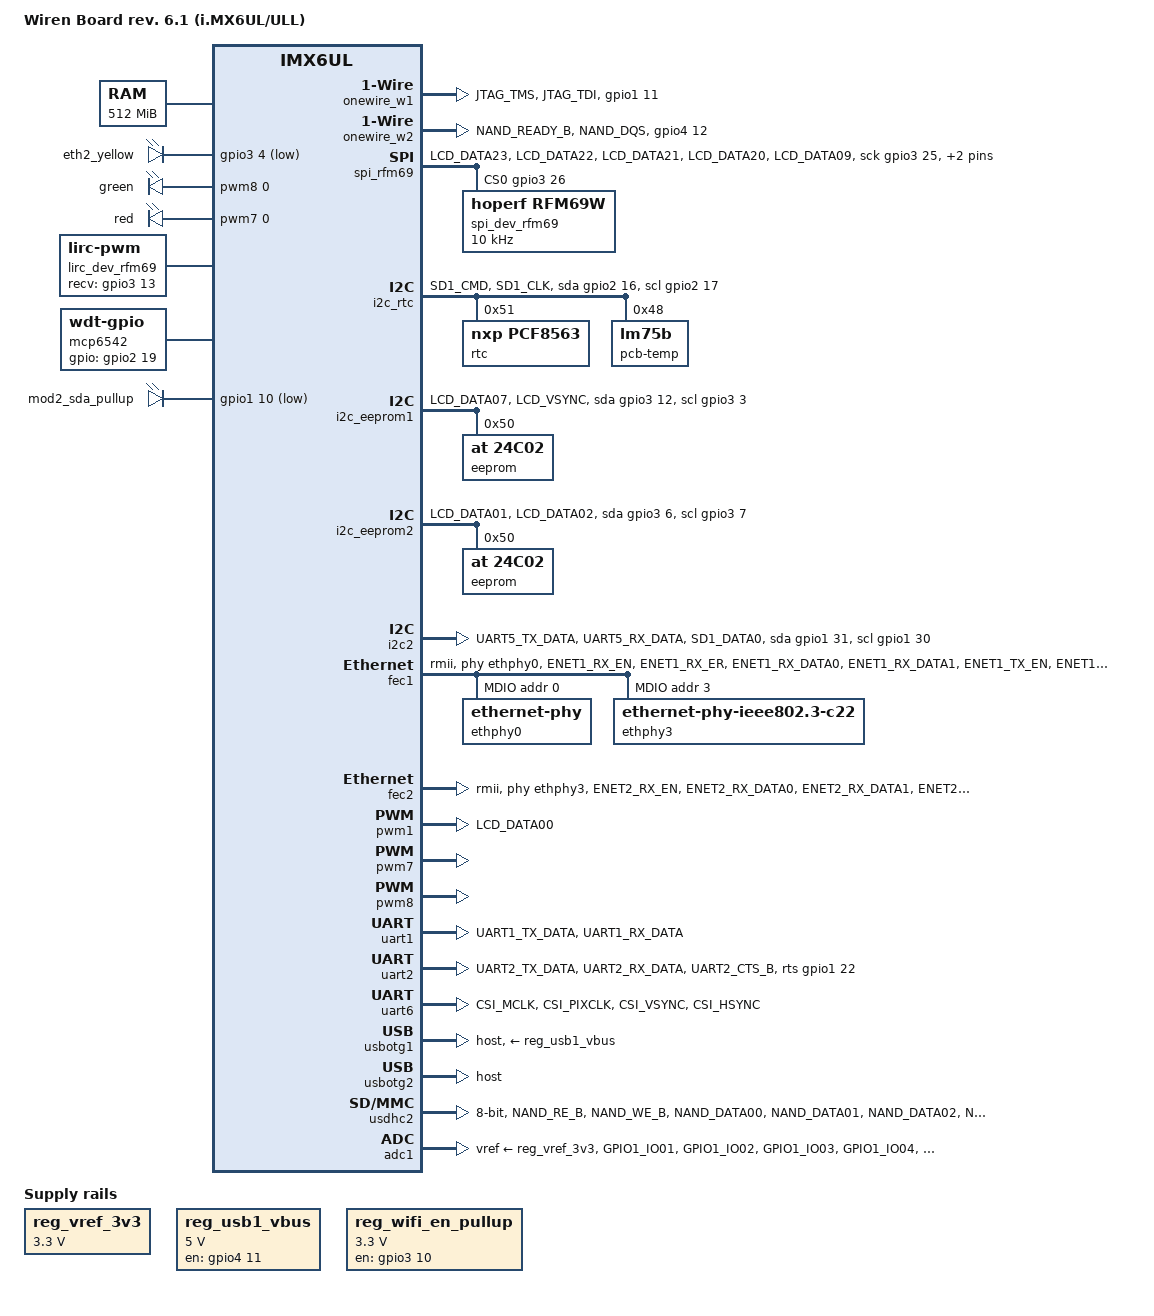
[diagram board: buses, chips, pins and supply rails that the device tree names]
/*
 * Copyright (C) 2016-2017 Contactless Devices, LLC
 * Copyright (C) 2015 Freescale Semiconductor, Inc.
 *
 * This program is free software; you can redistribute it and/or modify
 * it under the terms of the GNU General Public License version 2 as
 * published by the Free Software Foundation.
 */

/dts-v1/;

#include "imx6ull.dtsi"

/ {
	model = "Wiren Board rev. 6.1 (i.MX6UL/ULL)";
	compatible = "contactless,imx6ul-wirenboard61", "contactless,imx6ul-wirenboard60", "contactless,imx6ul-wirenboard-evk", "fsl,imx6ul-14x14-evk", "fsl,imx6ul";


	aliases {
		spi10 = &spi_rfm69;
		usb0 = &usbotg1;
		usb1 = &usbotg2;
/*
    Swap mmc0 and mmc1 aliases

    В ядре 5.10-rc3 по-другому стало работать сопоставление устройств mmcblk0 и
    mmcblk1 контроллерам usdhc1, usdhc2. На WB6
    mmc0 = &usdhc1: usdhc@2190000 - выключен,
    mmc1 = &usdhc2: usdhc@2194000 - eMMC
    На ядре 5.8.9 eMMC связывается с mmc0,
    на ядре 5.10-rc3 eMMC связывается с mmc1 и не загружается, зависает на
    ожидании монтирования mmcblk0p3.

    Поменять местами алиасы mmc0 и mmc1, при этом на ядре 5.8.9 связь
    устройств не меняется, на 5.10 становится mmcblk0 -> usdhc2, как и
    должно быть.
*/
		mmc0 = &usdhc2;
		mmc1 = &usdhc1;
	};

	chosen {
		stdout-path = &uart1;
	};

	memory {
		reg = <0x80000000 0x20000000>;
	};

	regulators {
		compatible = "simple-bus";
		#address-cells = <1>;
		#size-cells = <0>;

		reg_vref_3v3: regulator@0 {
			reg = <0>;
			compatible = "regulator-fixed";
			regulator-name = "vref-3v3";
			regulator-min-microvolt = <3300000>;
			regulator-max-microvolt = <3300000>;
		};

		reg_usb1_vbus: regulator@1 {
			reg = <1>;
			compatible = "regulator-fixed";
			regulator-name = "usb1_vbus";
			regulator-min-microvolt = <5000000>;
			regulator-max-microvolt = <5000000>;

			pinctrl-names = "default";
			pinctrl-0 = <&pinctrl_usb1vbus_gpio>;

			gpio = <&gpio4 11 0>;
			enable-active-high;
		};

		/* WIFI_EN should be always 3.3V so Wi-Fi power control
		   is handled by USB hub PRTCTL pins */
		reg_wifi_en_pullup: regulator@2 {
			reg = <2>;
			compatible = "regulator-fixed";
			regulator-name = "wifi_en_pullup";
			regulator-min-microvolt = <3300000>;
			regulator-max-microvolt = <3300000>;

			pinctrl-names = "default";
			pinctrl-0 = <&pinctrl_usb2vbus_gpio>;

			gpio = <&gpio3 10 0>;
			enable-active-high;
			regulator-always-on;
		};
	};

	leds {
		compatible = "gpio-leds";
		pinctrl-names = "default";
		pinctrl-0 = <&pinctrl_eth_led_pin_gpio>;

		eth2_yellow {
			label = "eth2_yellow";
			gpios = <&gpio3 4 1>;
			linux,default-trigger = "default-off";
		};
	};

	leds-pwm {
		compatible = "pwm-leds";
		pinctrl-names = "default";
		pinctrl-0 = <&pinctrl_leds_pin_pwm>;

		green {
			label = "green";
			pwms = <&pwm8 0 1000000 0>;
			max-brightness = <255>;
			linux,default-trigger = "default-off";
			default-state = "on";
			active-low;
		};

		red {
			label = "red";
			pwms = <&pwm7 0 1000000 0>;
			max-brightness = <255>;
			linux,default-trigger = "timer";
		};
	};

	/* Enable 1-wire network on terminal block W1 */
	onewire_w1: onewire_w1 {
		compatible = "w1-gpio";
		pinctrl-names = "default";
		pinctrl-0 = <&pinctrl_w1_gpio>;

		gpios = <&gpio1 11 0>;
		pu-gpios = <&gpio1 13 0>;
	};

	/* Enable 1-wire network on terminal block W2 */
	onewire_w2: onewire_w2 {
		compatible = "w1-gpio";
		pinctrl-names = "default";
		pinctrl-0 = <&pinctrl_w2_gpio>;

		gpios = <&gpio4 12 0>;
		pu-gpios = <&gpio4 16 0>;
	};

	lirc_dev_rfm69: lirc-rfm69 {
		compatible = "lirc-pwm";

		pinctrl-names = "default";
		pinctrl-0 = <&pinctrl_rfm69_dio2>;

		gpio-recv = <&gpio3 13 0>;
		gpio-recv-disable-filter;
	};

	spi_rfm69: spi-rfm69 {
		compatible = "spi-gpio";

		pinctrl-names = "default";
		pinctrl-0 = <&pinctrl_rfm69_spi_irq>;
		status = "okay";

		gpio-sck = <&gpio3 25 0>;
		gpio-mosi = <&gpio3 27 0>;
		gpio-miso = <&gpio3 28 0>;
		cs-gpios = <&gpio3 26 0>;
		num-chipselects = <1>;
		#address-cells = <1>;
		#size-cells = <0>;

		spi_dev_rfm69: spidev@0 {
			compatible = "hoperf,rfm69w";
			spi-max-frequency = <10000>;
			reg = <0>;
		};
	};

	mcp6542: watchdog {
		/* external watchdog timer using mcp6542  */
		compatible = "linux,wdt-gpio";

		pinctrl-names = "default";
		pinctrl-0 = <&pinctrl_wdg_gpio>;

		gpios = <&gpio2 19 0>;
		hw_algo = "toggle";
		hw_margin_ms = <100>;
		always-running;
		timeout-sec = <30>;
		status = "okay";
	};

	i2c_rtc {
		compatible = "i2c-gpio";

		#address-cells = <1>;
		#size-cells = <0>;

		gpios = <
			&gpio2 16 0 /* sda */
			&gpio2 17 0 /* scl */
		>;

		i2c-gpio,delay-us = <50>;        /* ~20 kHz */

		pinctrl-names = "default";
		pinctrl-0 = <&pinctrl_i2c_gpio_rtc>;

		status = "okay";

		rtc@51 {
			compatible = "nxp,pcf8563";
			reg = <0x51>;
		};

		pcb-temp@48 {
			/* NXP LM75AD has 11 bits of resolution, just like
			   standard LM75B. */
			compatible = "lm75b";
			reg = <0x48>;
		};
	};

	i2c_eeprom1 {
		compatible = "i2c-gpio";

		#address-cells = <1>;
		#size-cells = <0>;

		gpios = <
			&gpio3 12 0 /* sda */
			&gpio3 3 0 /* scl */
		>;

		i2c-gpio,delay-us = <50>;        /* ~20 kHz */

		pinctrl-names = "default";
		pinctrl-0 = <&pinctrl_i2c_gpio_eeprom1>;

		status = "okay";

		eeprom@50 {
			compatible = "at,24c02";
			reg = <0x50>;
		};
	};

	i2c_eeprom2 {
		compatible = "i2c-gpio";

		#address-cells = <1>;
		#size-cells = <0>;

		gpios = <
			&gpio3 6 0 /* sda */
			&gpio3 7 0 /* scl */
		>;

		i2c-gpio,delay-us = <50>;        /* ~20 kHz */

		pinctrl-names = "default";
		pinctrl-0 = <&pinctrl_i2c_gpio_eeprom2>;

		status = "okay";

		eeprom@50 {
			compatible = "at,24c02";
			reg = <0x50>;
		};
	};

	led_jtag_mod: led_jtag_mod {
		compatible = "gpio-leds";

		jtag_mod_out: jtag_mod_out {
			label = "mod2_sda_pullup";
			gpios = <&gpio1 10 1>;
			linux,default-trigger = "default-on";
			open-drain;
		};
	};

	wirenboard {
		adc-type = <3>;
		pwm-buzzer = <0>;

		gpios {
			A1_OUT {
				io-gpios = <&gpio3 15 0>;
				output-low;
				sort-order = <0>;
			};

			A2_OUT {
				io-gpios = <&gpio3 16 0>;
				output-low;
				sort-order = <1>;
			};

			A3_OUT {
				io-gpios = <&gpio3 17 0>;
				output-low;
				sort-order = <2>;
			};

			A4_OUT {
				io-gpios = <&gpio3 18 0>;
				output-low;
				sort-order = <3>;
			};

			A1_IN {
				io-gpios = <&gpio4 13 0>;
				input;
				sort-order = <4>;
			};

			A2_IN {
				io-gpios = <&gpio4 15 0>;
				input;
				sort-order = <5>;
			};

			A3_IN {
				io-gpios = <&gpio4 14 0>;
				input;
				sort-order = <6>;
			};

			A4_IN {
				io-gpios = <&gpio1 0 0>;
				input;
				sort-order = <7>;
			};

			5V_OUT {
				io-gpios = <&gpio1 27 0>;
				output-high;
				sort-order = <8>;
			};

			V_OUT {
				io-gpios = <&gpio3 9 0>;
				output-high;
				sort-order = <9>;
			};

			V_OUT_OK {
				io-gpios = <&gpio3 8 0>;
				input;
				sort-order = <10>;
			};
		};

		analog-inputs {
			/* we don't use standard 'io-channels = <&adc1 N>' here because
			   there is seemingly no way to assiciate iio channel index (N
			   in above example) with channel name as in sysfs path
			*/
			A1 {
				iio-device = <&adc1>;
				iio-channel-name = "voltage4";
				divider-r1-ohms = <88700>;
				divider-r2-ohms = <12000>;
				averaging-window = <1>;
				decimal-places = <2>;
				sort-order = <0>;
			};

			A2 {
				iio-device = <&adc1>;
				iio-channel-name = "voltage2";
				divider-r1-ohms = <88700>;
				divider-r2-ohms = <12000>;
				averaging-window = <1>;
				decimal-places = <2>;
				sort-order = <1>;
			};

			A3 {
				iio-device = <&adc1>;
				iio-channel-name = "voltage1";
				divider-r1-ohms = <88700>;
				divider-r2-ohms = <12000>;
				averaging-window = <1>;
				decimal-places = <2>;
				sort-order = <2>;
			};

			A4 {
				iio-device = <&adc1>;
				iio-channel-name = "voltage3";
				divider-r1-ohms = <88700>;
				divider-r2-ohms = <12000>;
				averaging-window = <1>;
				decimal-places = <2>;
				sort-order = <3>;
			};

			Vin {
				iio-device = <&adc1>;
				iio-channel-name = "voltage8";
				divider-r1-ohms = <88700>;
				divider-r2-ohms = <12000>;
				averaging-window = <1>;
				decimal-places = <2>;
				sort-order = <4>;
			};

			5Vout {
				iio-device = <&adc1>;
				iio-channel-name = "voltage5";
				divider-r1-ohms = <33000>;
				divider-r2-ohms = <12000>;
				averaging-window = <1>;
				decimal-places = <2>;
				sort-order = <5>;
			};
		};

		gsm {
			power-type = <2>;
			power-gpios = <&gpio4 24 0>;
			pwrkey-gpios = <&gpio3 20 0>;
			status-gpios = <&gpio3 19 1>;
			simselect-gpios = <&gpio3 24 0>;
		};

		radio {
			irq-gpios = <&gpio3 14 0>;
			dio2-gpios = <&gpio3 13 0>;
			spi-major-minor = <9 0>;				// deprecated. use spi-device to define rfm69 spi port
			spi-device = <&spi_dev_rfm69>;
			lirc-device = <&lirc_dev_rfm69>;
		};

		hwmon-nodes {
			cputemp {
				title = "CPU Temperature";
				hwmon-node-name = "imx_thermal_zone";
				hwmon-channel = "temp1";
			};

			pcbtemp {
				title = "Board Temperature";
				hwmon-node-name = "pcb-temp";
				hwmon-channel = "temp1";
			};
		};
	};
};

&clks {
	assigned-clocks = <&clks IMX6UL_CLK_PLL4_AUDIO_DIV>;
	assigned-clock-rates = <786432000>;
};

&cpu0 {
	arm-supply = <&reg_arm>;
	soc-supply = <&reg_soc>;
};

&i2c2 {
	clock_frequency = <100000>;
	/* GPIOs are used for bus recovery by the driver */
	pinctrl-names = "default", "gpio";
	pinctrl-0 = <&pinctrl_i2c2>;
	pinctrl-1 = <&pinctrl_i2c2_gpio>;
	scl-gpios = <&gpio1 30 GPIO_ACTIVE_HIGH>;
	sda-gpios = <&gpio1 31 GPIO_ACTIVE_HIGH>;
	status = "okay";
};

&fec1 {
	pinctrl-names = "default";
	pinctrl-0 = <&pinctrl_enet1>;
	phy-mode = "rmii";
	phy-handle = <&ethphy0>;
	status = "okay";

	phy-reset-gpios = <&gpio5 1 0>;
	phy-reset-duration = <100>;

	mdio {
		#address-cells = <1>;
		#size-cells = <0>;

		ethphy0: ethernet-phy@0 {
			reg = <0>;
			smsc,disable-energy-detect;
		};

		ethphy3: ethernet-phy@3 {
                    compatible = "ethernet-phy-ieee802.3-c22";
                    max-speed = <100>;
                    reg = <3>;
                    clocks = <&clks IMX6UL_CLK_ENET_REF>;
                    clock-names = "rmii-ref";
                    micrel,led-mode = <0>;
		};
	};
};

&fec2 {
	pinctrl-names = "default";
	pinctrl-0 = <&pinctrl_enet2>;
	phy-mode = "rmii";
	phy-handle = <&ethphy3>;
	status = "okay";

};

&pwm1 {
	pinctrl-names = "default";
	pinctrl-0 = <&pinctrl_pwm1>;
	status = "okay";
};

&pwm7 {
	status = "okay";
};
&pwm8 {
	status = "okay";
};

&snvs_poweroff {
	status = "okay";
};

&uart1 {
	pinctrl-names = "default";
	pinctrl-0 = <&pinctrl_uart1>;
	status = "okay";
};

&uart2 {
	pinctrl-names = "default";
	pinctrl-0 = <&pinctrl_uart2>;
	linux,rs485-enabled-at-boot-time;
	rts-gpios = <&gpio1 22 GPIO_ACTIVE_HIGH>;
	status = "okay";
};

// uart on mod1
&uart3 {
	rts-gpios = <&gpio1 26 GPIO_ACTIVE_HIGH>;
	status = "disabled";
};

&uart4 {
	pinctrl-names = "default";
	linux,rs485-enabled-at-boot-time;
	rts-gpios = <&gpio3 2 GPIO_ACTIVE_HIGH>;
	status = "disabled";
};

// uart on mod2
&uart5 {
	rts-gpios = <&gpio1 9 GPIO_ACTIVE_HIGH>;
	status = "disabled";
};

&uart6 {
	pinctrl-names = "default";
	pinctrl-0 = <&pinctrl_uart6>;
	uart-has-rtscts;
	status = "okay";
};

// uart on mod3
&uart7 {
	rts-gpios = <&gpio3 11 GPIO_ACTIVE_HIGH>;
	status = "disabled";
};

&can2 {
	pinctrl-names = "default";
	pinctrl-0 = <&pinctrl_flexcan2>;
	status = "disabled";
};

&ecspi1 {
	pinctrl-names = "default";
	pinctrl-0 = <&pinctrl_ecspi1>;

	cs-gpios = <&gpio4 26 GPIO_ACTIVE_LOW>;

	dmas = <&sdma 3 7 1>, <&sdma 4 7 2>;
	dma-names = "rx", "tx";

	status = "disabled";
};

&usbotg1 {
	vbus-supply = <&reg_usb1_vbus>;
	dr_mode = "host";
	status = "okay";
};

&usbotg2 {
	dr_mode = "host";
	disable-over-current;
	status = "okay";
};

&usbphy2 {
	fsl,tx-cal-45-dn-ohms = <55>;
	fsl,tx-cal-45-dp-ohms = <55>;
};

&usdhc2 {
	pinctrl-names = "default";
	pinctrl-0 = <&pinctrl_usdhc2>;
	no-1-8-v;
	keep-power-in-suspend;
	wakeup-source;
	status = "okay";
	bus-width = <8>;
};


&adc1 {
	pinctrl-names = "default";
	pinctrl-0 = <&pinctrl_adc1>;
	status = "okay";
	vref-supply = <&reg_vref_3v3>;
};

&iomuxc {
	pinctrl-names = "default";
	pinctrl-0 = <&pinctrl_io_gpio>;

	pinctrl_enet1: enet1grp {
		fsl,pins = <
			MX6UL_PAD_ENET1_RX_EN__ENET1_RX_EN	0x1b0b0
			MX6UL_PAD_ENET1_RX_ER__ENET1_RX_ER	0x1b0b0
			MX6UL_PAD_ENET1_RX_DATA0__ENET1_RDATA00	0x1b0b0
			MX6UL_PAD_ENET1_RX_DATA1__ENET1_RDATA01	0x1b0b0
			MX6UL_PAD_ENET1_TX_EN__ENET1_TX_EN	0x1b0b0
			MX6UL_PAD_ENET1_TX_DATA0__ENET1_TDATA00	0x1b0b0
			MX6UL_PAD_ENET1_TX_DATA1__ENET1_TDATA01	0x1b0b0
			MX6UL_PAD_ENET1_TX_CLK__ENET1_REF_CLK1	0x4001b031
			MX6UL_PAD_GPIO1_IO07__ENET1_MDC		0x1b0b0
			MX6UL_PAD_GPIO1_IO06__ENET1_MDIO	0x1b0b0
			MX6UL_PAD_SNVS_TAMPER1__GPIO5_IO01 0x70b0 /*pulled up*/
		>;
	};

	pinctrl_enet2: enet2grp {
		fsl,pins = <
			MX6UL_PAD_ENET2_RX_EN__ENET2_RX_EN	0x1b0b0
			MX6UL_PAD_ENET2_RX_DATA0__ENET2_RDATA00	0x1b0b0
			MX6UL_PAD_ENET2_RX_DATA1__ENET2_RDATA01	0x1b0b0
			MX6UL_PAD_ENET2_TX_EN__ENET2_TX_EN	0x1b0b0
			MX6UL_PAD_ENET2_TX_DATA0__ENET2_TDATA00	0x1b0b0
			MX6UL_PAD_ENET2_TX_DATA1__ENET2_TDATA01	0x1b0b0
			MX6UL_PAD_ENET2_TX_CLK__ENET2_REF_CLK2	0x4001b031
			MX6UL_PAD_SNVS_TAMPER0__GPIO5_IO00	0x17059
			MX6UL_PAD_ENET2_RX_ER__ENET2_RX_ER	0x1b0b0
		>;
	};

	pinctrl_flexcan2: flexcan2grp{
		fsl,pins = <
			MX6UL_PAD_SD1_DATA3__FLEXCAN2_RX	0x1b020
			MX6UL_PAD_SD1_DATA2__FLEXCAN2_TX	0x1b020
			MX6UL_PAD_UART4_TX_DATA__GPIO1_IO28	0xb0b0
			MX6UL_PAD_UART4_RX_DATA__GPIO1_IO29	0xb0b0
			MX6UL_PAD_LCD_ENABLE__GPIO3_IO01	0xb0b0
			MX6UL_PAD_LCD_HSYNC__GPIO3_IO02     0x30b0 /* RTS, 100K Ohm Pull Down */
			MX6UL_PAD_UART2_RTS_B__GPIO1_IO23   0xf0b0 /* CAN transceiver power, 22K Ohm Pull Up */
			MX6UL_PAD_LCD_DATA18__GPIO3_IO23    0x30b0 /* RS-485-2 failsafe bias, 100K Ohm Pull Down  */
		>;
	};

	pinctrl_i2c2: i2c2grp {
		fsl,pins = <
			MX6UL_PAD_UART5_TX_DATA__I2C2_SCL 0x4001b8b0
			MX6UL_PAD_UART5_RX_DATA__I2C2_SDA 0x4001b8b0
			MX6UL_PAD_SD1_DATA0__GPIO2_IO18 0x30b0 /* INT */
		>;
	};

	pinctrl_i2c2_gpio: i2c2gpiogrp {
		fsl,pins = <
			MX6UL_PAD_UART5_TX_DATA__GPIO1_IO30 0xf0b0 /* SCL, 22k pull-up */
			MX6UL_PAD_UART5_RX_DATA__GPIO1_IO31 0xf0b0 /* SDA, 22k pull-up */
			MX6UL_PAD_SD1_DATA0__GPIO2_IO18 0x30b0 /* INT */
		>;
	};

	pinctrl_uart1: uart1grp {
		fsl,pins = <
			MX6UL_PAD_UART1_TX_DATA__UART1_DCE_TX 0x1b0b1
			MX6UL_PAD_UART1_RX_DATA__UART1_DCE_RX 0x1b0b1
		>;
	};

	pinctrl_uart2: uart2grp {
		fsl,pins = <
			MX6UL_PAD_UART2_TX_DATA__UART2_DCE_TX   0x1b0b1
			MX6UL_PAD_UART2_RX_DATA__UART2_DCE_RX   0x1b0b1
			MX6UL_PAD_UART2_CTS_B__GPIO1_IO22   0x30b0
		>;
	};

	pinctrl_uart3_txrx: uart3txrxgrp {
		fsl,pins = <
			MX6UL_PAD_UART3_TX_DATA__UART3_DCE_TX	0x1b0b1
			MX6UL_PAD_UART3_RX_DATA__UART3_DCE_RX	0x1b0b1
		>;
	};

	pinctrl_uart3_ctsb: uart3ctsbgrp {
		fsl,pins = <
			MX6UL_PAD_UART3_CTS_B__GPIO1_IO26	0x30b0
		>;
	};

	pinctrl_uart4_rs485: uart4rs485grp {
		fsl,pins = <
			MX6UL_PAD_UART4_TX_DATA__UART4_DCE_TX   0x1b0b1
			MX6UL_PAD_UART4_RX_DATA__UART4_DCE_RX   0x1b0b1
			MX6UL_PAD_LCD_HSYNC__GPIO3_IO02   0x30b0
			MX6UL_PAD_LCD_ENABLE__GPIO3_IO01   0xb0b0
			MX6UL_PAD_SD1_DATA3__GPIO2_IO21   0xb0b0
			MX6UL_PAD_SD1_DATA2__GPIO2_IO20   0xb0b0
			MX6UL_PAD_UART2_RTS_B__GPIO1_IO23   0x30b0 /* CAN transceiver power, 100K Ohm Pull Down */
			MX6UL_PAD_LCD_DATA18__GPIO3_IO23    0x70b0 /* RS-485-2 failsafe bias, 47K Ohm Pull Up */
		>;
	};

	pinctrl_uart4_can: uart4cangrp {
		fsl,pins = <
			MX6UL_PAD_UART4_TX_DATA__UART4_DCE_TX   0x1b0b1
			MX6UL_PAD_LCD_ENABLE__UART4_DCE_RX   0x1b0b1
			MX6UL_PAD_UART4_RX_DATA__GPIO1_IO29   0xb0b0
			MX6UL_PAD_SD1_DATA3__GPIO2_IO21   0xb0b0
			MX6UL_PAD_SD1_DATA2__GPIO2_IO20   0xb0b0
			MX6UL_PAD_LCD_HSYNC__GPIO3_IO02     0x30b0 /* RTS, 100K Ohm Pull Down */
			MX6UL_PAD_UART2_RTS_B__GPIO1_IO23   0xf0b0 /* CAN transceiver power, 22K Ohm Pull Up */
			MX6UL_PAD_LCD_DATA18__GPIO3_IO23    0x30b0 /* RS-485-2 failsafe bias, 100K Ohm Pull Down  */
		>;
	};

	pinctrl_uart5_txrx: uart5txrxgrp {
		fsl,pins = <
			MX6UL_PAD_CSI_DATA00__UART5_DCE_TX   0x1b0b1
			MX6UL_PAD_CSI_DATA01__UART5_DCE_RX   0x1b0b1
		>;
	};

	pinctrl_uart5_ctsb: uart5ctsbgrp {
		fsl,pins = <
			MX6UL_PAD_GPIO1_IO09__GPIO1_IO09	0x30b0
		>;
	};

	pinctrl_uart6: uart6grp {
		fsl,pins = <
			MX6UL_PAD_CSI_MCLK__UART6_DCE_TX   0x1b0b1
			MX6UL_PAD_CSI_PIXCLK__UART6_DCE_RX   0x1b0b1
			MX6UL_PAD_CSI_VSYNC__UART6_DCE_RTS   0x1b0b1
			MX6UL_PAD_CSI_HSYNC__UART6_DCE_CTS   0x1b0b1
		>;
	};

	pinctrl_uart7_ctsb: uart7ctsbgrp {
		fsl,pins = <
			MX6UL_PAD_LCD_DATA06__GPIO3_IO11	0x30b0
		>;
	};

	pinctrl_uart7_txrx: uart7txrxgrp {
		fsl,pins = <
			MX6UL_PAD_LCD_DATA16__UART7_DCE_TX   0x1b0b1
			MX6UL_PAD_LCD_DATA17__UART7_DCE_RX   0x1b0b1
		>;
	};

	pinctrl_ecspi1: ecspi1grp {
		fsl,pins = <
			MX6UL_PAD_CSI_DATA06__ECSPI1_MOSI	0x100b1
			MX6UL_PAD_CSI_DATA07__ECSPI1_MISO	0x100b1
			MX6UL_PAD_CSI_DATA04__ECSPI1_SCLK	0x100b1
			MX6UL_PAD_CSI_DATA05__GPIO4_IO26	0x0b0b1
		>;
	};

	pinctrl_usdhc2: usdhc2grp {
		fsl,pins = <
			MX6UL_PAD_NAND_RE_B__USDHC2_CLK     0x17059
			MX6UL_PAD_NAND_WE_B__USDHC2_CMD     0x17059
			MX6UL_PAD_NAND_DATA00__USDHC2_DATA0 0x17059
			MX6UL_PAD_NAND_DATA01__USDHC2_DATA1 0x17059
			MX6UL_PAD_NAND_DATA02__USDHC2_DATA2 0x17059
			MX6UL_PAD_NAND_DATA03__USDHC2_DATA3 0x17059
		>;
	};

	pinctrl_eth_led_pin_gpio: leds_pin_gpio {
		fsl,pins = <
			MX6UL_PAD_LCD_RESET__GPIO3_IO04	0x30b0
		>;
	};

	pinctrl_leds_pin_pwm: ledsgrp {
		fsl,pins = <
			MX6UL_PAD_JTAG_TRST_B__PWM8_OUT	0x30b0
			MX6UL_PAD_JTAG_TCK__PWM7_OUT	0x30b0
		>;
	};

	pinctrl_io_gpio: iogrp {
		fsl,pins = <
			MX6UL_PAD_LCD_DATA10__GPIO3_IO15	0x30b0 /* FET1 */
			MX6UL_PAD_LCD_DATA11__GPIO3_IO16	0x30b0 /* FET2 */
			MX6UL_PAD_LCD_DATA12__GPIO3_IO17	0x30b0 /* FET3 */
			MX6UL_PAD_LCD_DATA13__GPIO3_IO18	0x30b0 /* FET4 */
			MX6UL_PAD_CSI_DATA03__GPIO4_IO24	0x30b0 /* RESET_SIM900 */
			MX6UL_PAD_LCD_DATA15__GPIO3_IO20	0x30b0 /* POWER_SIM900 */
			MX6UL_PAD_LCD_DATA14__GPIO3_IO19	0x30b0 /* STATUS SIM900 */
			MX6UL_PAD_LCD_DATA19__GPIO3_IO24	0x30b0 /* SIM select */
			MX6UL_PAD_UART1_CTS_B__GPIO1_IO18	0xf0b0 /* Battery STAT1, 22K Ohm pulled up */
			MX6UL_PAD_UART1_RTS_B__GPIO1_IO19	0xf0b0 /* Battery STAT2, 22K Ohm pulled up */
			MX6UL_PAD_JTAG_TDO__CCM_CLKO2	0xb0 /* 24MHz clock output */
			MX6UL_PAD_UART3_RTS_B__GPIO1_IO27	0x30b0 /* 5V enable */
			MX6UL_PAD_LCD_DATA04__GPIO3_IO09	0x30b0 /* V_OUT_ON */
			MX6UL_PAD_LCD_DATA03__GPIO3_IO08	0xb0b0 /* V_OUT_ST, 100K Ohm PU */
			MX6UL_PAD_CSI_DATA02__GPIO4_IO23        0x70b0 /* RS-485-1 failsafe bias, pulled up */

			MX6UL_PAD_NAND_CE0_B__GPIO4_IO13 	0x30b0 /* IN1 */
			MX6UL_PAD_NAND_CLE__GPIO4_IO15 	0x30b0 /* IN2 */
			MX6UL_PAD_NAND_CE1_B__GPIO4_IO14 	0x30b0 /* IN3 */
			MX6UL_PAD_GPIO1_IO00__GPIO1_IO00 	0x30b0 /* IN4 */

			MX6UL_PAD_JTAG_MOD__GPIO1_IO10		0x80000000 /* SPDIF_OUT connected to MODULE 2 TX PIN via 3K, must be high when i2c*/
		>;
	};

	pinctrl_wdg_gpio: wdggrp {
		fsl,pins = <
			MX6UL_PAD_SD1_DATA1__GPIO2_IO19	 0x30b0 /* watchdog toggle out */
		>;
	};

	pinctrl_adc1: adc1grp {
		fsl,pins = <
			MX6UL_PAD_GPIO1_IO01__GPIO1_IO01        0xb0
			MX6UL_PAD_GPIO1_IO02__GPIO1_IO02        0xb0
			MX6UL_PAD_GPIO1_IO03__GPIO1_IO03        0xb0
			MX6UL_PAD_GPIO1_IO04__GPIO1_IO04        0xb0
			MX6UL_PAD_GPIO1_IO05__GPIO1_IO05        0xb0
			MX6UL_PAD_GPIO1_IO08__GPIO1_IO08        0xb0
		>;
	};

	pinctrl_pwm1: pwm1grp {
		fsl,pins = <
			MX6UL_PAD_LCD_DATA00__PWM1_OUT	0x30b0
		>;
	};

	pinctrl_w1_gpio: w1grp {
		fsl,pins = <
			MX6UL_PAD_JTAG_TMS__GPIO1_IO11	0x30b0
			MX6UL_PAD_JTAG_TDI__GPIO1_IO13	0x30b0
		>;
	};

	pinctrl_w2_gpio: w2grp {
		fsl,pins = <
			MX6UL_PAD_NAND_READY_B__GPIO4_IO12	0x30b0
			MX6UL_PAD_NAND_DQS__GPIO4_IO16	0x30b0
		>;
	};

	pinctrl_rfm69_spi_irq: rfm69spigrp {
		fsl,pins = <
			MX6UL_PAD_LCD_DATA23__GPIO3_IO28	0x30b0
			MX6UL_PAD_LCD_DATA22__GPIO3_IO27	0x30b0
			MX6UL_PAD_LCD_DATA21__GPIO3_IO26	0x30b0
			MX6UL_PAD_LCD_DATA20__GPIO3_IO25	0x30b0
			MX6UL_PAD_LCD_DATA09__GPIO3_IO14	0x30b0
		>;
	};

	pinctrl_i2c_gpio_rtc: rtcgrp {
		fsl,pins = <
			MX6UL_PAD_SD1_CMD__GPIO2_IO16	0x1b0b0 /* RTC_SDA */
			MX6UL_PAD_SD1_CLK__GPIO2_IO17	0x1b0b0 /* RTC_SCL */
		>;
	};

	pinctrl_i2c_gpio_eeprom1: eeprom1grp {
		fsl,pins = <
			MX6UL_PAD_LCD_DATA07__GPIO3_IO12	0x1b0b0 /* EEPR_SDA-1 */
			MX6UL_PAD_LCD_VSYNC__GPIO3_IO03	0x1b0b0 /* EEPR_SCL-1 */
		>;
	};

	pinctrl_i2c_gpio_eeprom2: eeprom2grp {
		fsl,pins = <
			MX6UL_PAD_LCD_DATA01__GPIO3_IO06	0x1b0b0 /* EEPR_SDA-2 */
			MX6UL_PAD_LCD_DATA02__GPIO3_IO07	0x1b0b0 /* EEPR_SCL-2 */
		>;
	};

	pinctrl_rfm69_dio2: rfm69diogrp {
		fsl,pins = <
			MX6UL_PAD_LCD_DATA08__GPIO3_IO13	0x30b0
		>;
	};

	pinctrl_usb1vbus_gpio: usb1vbusgrp {
		fsl,pins = <
			MX6UL_PAD_NAND_WP_B__GPIO4_IO11	0x30b0 /* PRTCTL3 */
		>;
	};

	pinctrl_usb2vbus_gpio: usb2vbusgrp {
		fsl,pins = <
			MX6UL_PAD_LCD_DATA05__GPIO3_IO10	0x30b0
		>;
	};

	pinctrl_mod1_txrx_gpio: mod1gpiogrp-1 {
		fsl,pins = <
			MX6UL_PAD_UART3_TX_DATA__GPIO1_IO24	0x30b0
			MX6UL_PAD_UART3_RX_DATA__GPIO1_IO25	0x30b0
		>;
	};

	pinctrl_mod1_de_gpio: mod1gpiogrp-2 {
		fsl,pins = <
			MX6UL_PAD_UART3_CTS_B__GPIO1_IO26	0x30b0
		>;
	};

	pinctrl_mod1_i2c_gpio: mod1i2cgpiogrp-1 {
		fsl,pins = <
			MX6UL_PAD_UART3_TX_DATA__GPIO1_IO24	0x70b0 /* SDA, 47K PU */
			MX6UL_PAD_UART3_RX_DATA__GPIO1_IO25	0x70b0 /* SCL, 47K PU */
		>;
	};

	pinctrl_mod2_txrx_gpio: mod2gpiogrp-1 {
		fsl,pins = <
			MX6UL_PAD_CSI_DATA00__GPIO4_IO21	0x30b0
			MX6UL_PAD_CSI_DATA01__GPIO4_IO22	0x30b0
		>;
	};

	pinctrl_mod2_de_gpio: mod2gpiogrp-2 {
		fsl,pins = <
			MX6UL_PAD_GPIO1_IO09__GPIO1_IO09	0x30b0
		>;
	};

	pinctrl_mod2_i2c_gpio: mod2i2cgpiogrp-1 {
		fsl,pins = <
			MX6UL_PAD_CSI_DATA00__GPIO4_IO21	0x70b0 /* SDA, 47K PU */
			MX6UL_PAD_CSI_DATA01__GPIO4_IO22	0x70b0 /* SCL, 47K PU */
		>;
	};

	pinctrl_mod3_txrx_gpio: mod3uartgpiogrp-1 {
		fsl,pins = <
			MX6UL_PAD_LCD_DATA16__GPIO3_IO21	0x30b0
			MX6UL_PAD_LCD_DATA17__GPIO3_IO22	0x30b0
		>;
	};

	pinctrl_mod3_de_gpio: mod3uartgpiogrp-2 {
		fsl,pins = <
			MX6UL_PAD_LCD_DATA06__GPIO3_IO11	0x30b0
		>;
	};

	pinctrl_mod3_i2c_gpio: mod3i2cgpiogrp-1 {
		fsl,pins = <
			MX6UL_PAD_LCD_DATA16__GPIO3_IO21	0x70b0 /* SDA, 47K PU */
			MX6UL_PAD_LCD_DATA17__GPIO3_IO22	0x70b0 /* SCL, 47K PU */
		>;
	};

	pinctrl_mod3_spi_gpio: mod3spigpiogrp-2 {
		fsl,pins = <
			MX6UL_PAD_CSI_DATA06__GPIO4_IO27	0x30b0
			MX6UL_PAD_CSI_DATA07__GPIO4_IO28	0x30b0
			MX6UL_PAD_CSI_DATA04__GPIO4_IO25	0x30b0
			MX6UL_PAD_CSI_DATA05__GPIO4_IO26	0x30b0
		>;
	};
};
